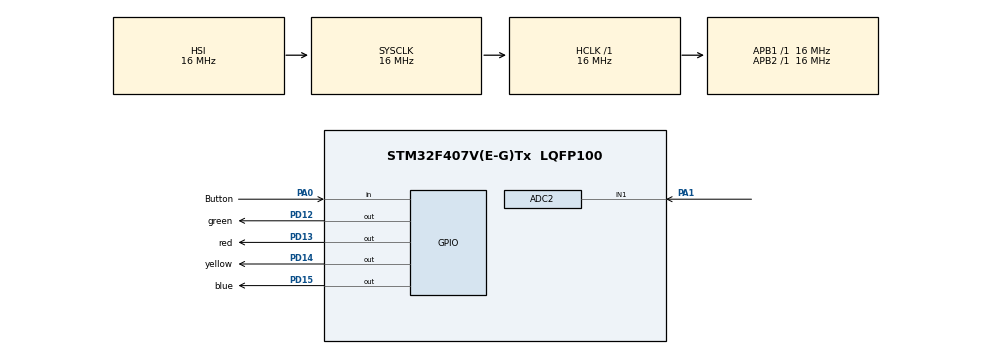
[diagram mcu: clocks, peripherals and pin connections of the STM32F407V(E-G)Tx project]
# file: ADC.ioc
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Mcu.Family=STM32F4
ADC2.ClockPrescaler=ADC_CLOCK_SYNC_PCLK_DIV4
PD12.GPIO_Label=green
PH0-OSC_IN.Signal=RCC_OSC_IN
RCC.CortexFreq_Value=16000000
FREERTOS.Tasks01=ADC_Task,0,128,StartDefaultTask,Default,NULL,Dynamic,NULL,NULL;GPIO_LED_TASK,0,128,Gpio_task_init,Default,NULL,Dynamic,NULL,NULL
FREERTOS.BinarySemaphores01=myBinSem01,Dynamic,NULL
PD15.GPIO_Label=blue
ADC2.Channel-0\#ChannelRegularConversion=ADC_CHANNEL_1
ProjectManager.StackSize=0x400
PA0-WKUP.GPIO_Label=Button
PA0-WKUP.Signal=GPIO_Input
PA13.Signal=SYS_JTMS-SWDIO
PD13.Signal=GPIO_Output
NVIC.ADC_IRQn=true\:5\:0\:false\:false\:true\:true\:true\:true
ProjectManager.TargetToolchain=STM32CubeIDE
RCC.LSE_VALUE=32768
PA1.Signal=ADCx_IN1
RCC.AHBFreq_Value=16000000
PH0-OSC_IN.Mode=HSE-External-Oscillator
RCC.HSE_VALUE=25000000
board=custom
RCC.VCOOutputFreq_Value=192000000
RCC.APB2Freq_Value=16000000
PA14.Mode=Serial_Wire
VP_SYS_VS_tim1.Mode=TIM1
PH1-OSC_OUT.Signal=RCC_OSC_OUT
PD14.GPIO_Label=yellow
VP_FREERTOS_VS_CMSIS_V1.Mode=CMSIS_V1
PA13.Mode=Serial_Wire
Mcu.Name=STM32F407V(E-G)Tx
ADC2.Resolution=ADC_RESOLUTION_10B
PD14.Signal=GPIO_Output
PH1-OSC_OUT.Mode=HSE-External-Oscillator
RCC.SYSCLKFreq_VALUE=16000000
PD13.GPIO_Label=red
Mcu.Package=LQFP100
NVIC.TimeBase=TIM1_UP_TIM10_IRQn
ADC2.NbrOfConversionFlag=1
PD12.Signal=GPIO_Output
NVIC.TimeBaseIP=TIM1
PA14.Signal=SYS_JTCK-SWCLK
ProjectManager.HeapSize=0x200
ADC2.SamplingTime-0\#ChannelRegularConversion=ADC_SAMPLETIME_28CYCLES
NVIC.TIM1_UP_TIM10_IRQn=true\:0\:0\:false\:false\:true\:false\:false\:true
RCC.HSI_VALUE=16000000
NVIC.PriorityGroup=NVIC_PRIORITYGROUP_4
SH.ADCx_IN1.0=ADC2_IN1,IN1
ADC2.Rank-0\#ChannelRegularConversion=1
RCC.APB1Freq_Value=16000000
PD15.Signal=GPIO_Output

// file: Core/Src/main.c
/* USER CODE BEGIN Header */
/**
  ******************************************************************************
  * @file           : main.c
  * @brief          : Main program body
  ******************************************************************************
  * @attention
  *
  * <h2><center>&copy; Copyright (c) 2021 STMicroelectronics.
  * All rights reserved.</center></h2>
  *
  * This software component is licensed by ST under BSD 3-Clause license,
  * the "License"; You may not use this file except in compliance with the
  * License. You may obtain a copy of the License at:
  *                        opensource.org/licenses/BSD-3-Clause
  *
  ******************************************************************************
  */
/* USER CODE END Header */
#include "main.h"
#include "cmsis_os.h"

ADC_HandleTypeDef hadc2;

osThreadId ADC_TaskHandle;
osThreadId GPIO_LED_TASKHandle;
osSemaphoreId myBinSem01Handle;

void SystemClock_Config(void);
static void MX_GPIO_Init(void);
static void MX_ADC2_Init(void);
void StartDefaultTask(void const * argument);
void Gpio_task_init(void const * argument);

/* USER CODE BEGIN 0 */
#define PRESS 1
#define MAX 1024
uint32_t adc_val;
/* USER CODE END 0 */

int main(void)
{

  /* MCU Configuration--------------------------------------------------------*/

  /* Reset of all peripherals, Initializes the Flash interface and the Systick. */
  HAL_Init();

  /* Configure the system clock */
  SystemClock_Config();

  /* Initialize all configured peripherals */
  MX_GPIO_Init();
  MX_ADC2_Init();

  /* Create the semaphores(s) */
  /* definition and creation of myBinSem01 */
  osSemaphoreDef(myBinSem01);
  myBinSem01Handle = osSemaphoreCreate(osSemaphore(myBinSem01), 1);

  /* Create the thread(s) */
  /* definition and creation of ADC_Task */
  osThreadDef(ADC_Task, StartDefaultTask, osPriorityNormal, 0, 128);
  ADC_TaskHandle = osThreadCreate(osThread(ADC_Task), NULL);

  /* definition and creation of GPIO_LED_TASK */
  osThreadDef(GPIO_LED_TASK, Gpio_task_init, osPriorityNormal, 0, 128);
  GPIO_LED_TASKHandle = osThreadCreate(osThread(GPIO_LED_TASK), NULL);

  /* Start scheduler */
  osKernelStart();

  /* We should never get here as control is now taken by the scheduler */
  /* Infinite loop */
  while (1)
  {

  }
}

void SystemClock_Config(void)
{
  RCC_OscInitTypeDef RCC_OscInitStruct = {0};
  RCC_ClkInitTypeDef RCC_ClkInitStruct = {0};

  /** Configure the main internal regulator output voltage
  */
  __HAL_RCC_PWR_CLK_ENABLE();
  __HAL_PWR_VOLTAGESCALING_CONFIG(PWR_REGULATOR_VOLTAGE_SCALE1);
  /** Initializes the RCC Oscillators according to the specified parameters
  * in the RCC_OscInitTypeDef structure.
  */
  RCC_OscInitStruct.OscillatorType = RCC_OSCILLATORTYPE_HSI;
  RCC_OscInitStruct.HSIState = RCC_HSI_ON;
  RCC_OscInitStruct.HSICalibrationValue = RCC_HSICALIBRATION_DEFAULT;
  RCC_OscInitStruct.PLL.PLLState = RCC_PLL_NONE;
  if (HAL_RCC_OscConfig(&RCC_OscInitStruct) != HAL_OK)
  {
    Error_Handler();
  }
  /** Initializes the CPU, AHB and APB buses clocks
  */
  RCC_ClkInitStruct.ClockType = RCC_CLOCKTYPE_HCLK|RCC_CLOCKTYPE_SYSCLK
                              |RCC_CLOCKTYPE_PCLK1|RCC_CLOCKTYPE_PCLK2;
  RCC_ClkInitStruct.SYSCLKSource = RCC_SYSCLKSOURCE_HSI;
  RCC_ClkInitStruct.AHBCLKDivider = RCC_SYSCLK_DIV1;
  RCC_ClkInitStruct.APB1CLKDivider = RCC_HCLK_DIV1;
  RCC_ClkInitStruct.APB2CLKDivider = RCC_HCLK_DIV1;

  if (HAL_RCC_ClockConfig(&RCC_ClkInitStruct, FLASH_LATENCY_0) != HAL_OK)
  {
    Error_Handler();
  }
}

static void MX_ADC2_Init(void)
{

  ADC_ChannelConfTypeDef sConfig = {0};

  /** Configure the global features of the ADC (Clock, Resolution, Data Alignment and number of conversion)
  */
  hadc2.Instance = ADC2;
  hadc2.Init.ClockPrescaler = ADC_CLOCK_SYNC_PCLK_DIV4;
  hadc2.Init.Resolution = ADC_RESOLUTION_10B;
  hadc2.Init.ScanConvMode = DISABLE;
  hadc2.Init.ContinuousConvMode = DISABLE;
  hadc2.Init.DiscontinuousConvMode = DISABLE;
  hadc2.Init.ExternalTrigConvEdge = ADC_EXTERNALTRIGCONVEDGE_NONE;
  hadc2.Init.ExternalTrigConv = ADC_SOFTWARE_START;
  hadc2.Init.DataAlign = ADC_DATAALIGN_RIGHT;
  hadc2.Init.NbrOfConversion = 1;
  hadc2.Init.DMAContinuousRequests = DISABLE;
  hadc2.Init.EOCSelection = ADC_EOC_SINGLE_CONV;
  if (HAL_ADC_Init(&hadc2) != HAL_OK)
  {
    Error_Handler();
  }
  /** Configure for the selected ADC regular channel its corresponding rank in the sequencer and its sample time.
  */
  sConfig.Channel = ADC_CHANNEL_1;
  sConfig.Rank = 1;
  sConfig.SamplingTime = ADC_SAMPLETIME_28CYCLES;
  if (HAL_ADC_ConfigChannel(&hadc2, &sConfig) != HAL_OK)
  {
    Error_Handler();
  }

}

static void MX_GPIO_Init(void)
{
  GPIO_InitTypeDef GPIO_InitStruct = {0};

  /* GPIO Ports Clock Enable */
  __HAL_RCC_GPIOH_CLK_ENABLE();
  __HAL_RCC_GPIOA_CLK_ENABLE();
  __HAL_RCC_GPIOD_CLK_ENABLE();

  /*Configure GPIO pin Output Level */
  HAL_GPIO_WritePin(GPIOD, green_Pin|red_Pin|yellow_Pin|blue_Pin, GPIO_PIN_RESET);

  /*Configure GPIO pin : Button_Pin */
  GPIO_InitStruct.Pin = Button_Pin;
  GPIO_InitStruct.Mode = GPIO_MODE_INPUT;
  GPIO_InitStruct.Pull = GPIO_NOPULL;
  HAL_GPIO_Init(Button_GPIO_Port, &GPIO_InitStruct);

  /*Configure GPIO pins : green_Pin red_Pin yellow_Pin blue_Pin */
  GPIO_InitStruct.Pin = green_Pin|red_Pin|yellow_Pin|blue_Pin;
  GPIO_InitStruct.Mode = GPIO_MODE_OUTPUT_PP;
  GPIO_InitStruct.Pull = GPIO_NOPULL;
  GPIO_InitStruct.Speed = GPIO_SPEED_FREQ_LOW;
  HAL_GPIO_Init(GPIOD, &GPIO_InitStruct);

}

void StartDefaultTask(void const * argument)
{
  /* USER CODE BEGIN 5 */
  /* Infinite loop */
  for(;;)
  {

	  while((HAL_GPIO_ReadPin(Button_GPIO_Port, Button_Pin)== PRESS))
	  {
		  HAL_GPIO_WritePin(blue_GPIO_Port, blue_Pin, 1);
		  HAL_GPIO_WritePin(green_GPIO_Port, green_Pin, 0);
		  HAL_GPIO_WritePin(yellow_GPIO_Port, yellow_Pin, 0);
		  HAL_GPIO_WritePin(red_GPIO_Port, red_Pin, 0);
		  osDelay(3000);
		  continue;
	  }

	  //osSemaphoreWait(myBinSem01Handle, osWaitForever);
	// HAL_GPIO_TogglePin(fuck_GPIO_Port, fuck_Pin);
/*	if((HAL_GPIO_ReadPin(Button_GPIO_Port, Button_Pin)== PRESS))
	{
		HAL_GPIO_WritePin(red_GPIO_Port, red_Pin, 0);
		HAL_GPIO_WritePin(yellow_GPIO_Port, yellow_Pin, 0);
		HAL_GPIO_WritePin(green_GPIO_Port, green_Pin, 0);
		HAL_GPIO_WritePin(blue_GPIO_Port, blue_Pin, 1);
	    HAL_ADC_Start(&hadc2);
	    if(HAL_ADC_PollForConversion(&hadc2, 1000) == HAL_OK)
	    {
	    	adc_val = HAL_ADC_GetValue(&hadc2);
	    	if(adc_val == MAX)
	    	{
	    		HAL_GPIO_WritePin(blue_GPIO_Port, blue_Pin, 1);
	    	}
	    	else
	    	{
	    		HAL_GPIO_WritePin(blue_GPIO_Port, blue_Pin, 0);
	    	}
	    }
	}
	else
	{
		osDelay(500);
	}

	//HAL_ADC_Stop(&hadc2);
    osDelay(2000);

	}*/
  osSemaphoreRelease(myBinSem01Handle);
  HAL_GPIO_WritePin(blue_GPIO_Port, blue_Pin, 0);
  /* USER CODE END 5 */
}
}

void Gpio_task_init(void const * argument)
{
  /* USER CODE BEGIN Gpio_task_init */
  /* Infinite loop */
	 if((HAL_GPIO_ReadPin(Button_GPIO_Port, Button_Pin)== PRESS))
		 exit(0);
	osSemaphoreWait(myBinSem01Handle, 5000);
   for(;;)
  {
	  HAL_GPIO_WritePin(blue_GPIO_Port, blue_Pin, 0);
	  HAL_GPIO_WritePin(green_GPIO_Port, green_Pin, 0);
	  HAL_GPIO_WritePin(yellow_GPIO_Port, yellow_Pin, 0);
	  HAL_GPIO_WritePin(red_GPIO_Port, red_Pin, 1);
	  osDelay(3000);
	  HAL_GPIO_WritePin(red_GPIO_Port, red_Pin, 0);
	  HAL_GPIO_WritePin(yellow_GPIO_Port, yellow_Pin, 1);
	  HAL_GPIO_WritePin(green_GPIO_Port, green_Pin, 0);
	  osDelay(3000);
	  HAL_GPIO_WritePin(red_GPIO_Port, red_Pin, 0);
	  HAL_GPIO_WritePin(yellow_GPIO_Port, yellow_Pin, 0);
	  HAL_GPIO_WritePin(green_GPIO_Port, green_Pin, 1);
	  osDelay(3000);

  }
  osSemaphoreRelease(myBinSem01Handle);
  /* USER CODE END Gpio_task_init */
}

 /**
  * @brief  Period elapsed callback in non blocking mode
  * @note   This function is called  when TIM1 interrupt took place, inside
  * HAL_TIM_IRQHandler(). It makes a direct call to HAL_IncTick() to increment
  * a global variable "uwTick" used as application time base.
  * @param  htim : TIM handle
  * @retval None
  */
void HAL_TIM_PeriodElapsedCallback(TIM_HandleTypeDef *htim)
{
  if (htim->Instance == TIM1) {
    HAL_IncTick();
  }
}

void Error_Handler(void)
{
  __disable_irq();
  while (1)
  {
  }
}

/************************ (C) COPYRIGHT STMicroelectronics *****END OF FILE****/
